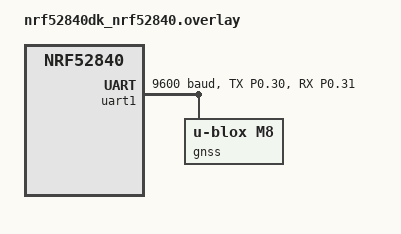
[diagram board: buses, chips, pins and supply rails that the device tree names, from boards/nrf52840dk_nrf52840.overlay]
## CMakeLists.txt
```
# Copyright (c) 2025 Hubble Network, Inc.
# SPDX-License-Identifier: Apache-2.0

cmake_minimum_required(VERSION 3.20.0)
find_package(Zephyr REQUIRED HINTS $ENV{ZEPHYR_BASE})

project(app LANGUAGES C)

target_sources(app PRIVATE src/gnss_manager.c)
target_sources(app PRIVATE src/main.c)
```

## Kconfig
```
# Copyright (c) 2025 Hubble Network, Inc.
# SPDX-License-Identifier: Apache-2.0
#
# This file is the application Kconfig entry point. All application Kconfig
# options can be defined here or included via other application Kconfig files.
# You can browse these options using the west targets menuconfig (terminal) or
# guiconfig (GUI).

menu "Zephyr"
source "Kconfig.zephyr"
endmenu

module = APP
module-str = APP
source "subsys/logging/Kconfig.template.log_config"
```

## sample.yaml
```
# Copyright (c) 2025 Hubble Network, Inc.
# SPDX-License-Identifier: Apache-2.0

sample:
  description: Hubble Network GNSS SAT example
  name: hubble-gnss-sat-network
common:
  build_only: true
  filter: dt_nodelabel_enabled("gnss")
  integration_platforms:
    - nrf52840dk/nrf52840
tests:
  app.gnss.default: {}
  app.gnss.debug:
    extra_overlay_confs:
      - debug.conf
```

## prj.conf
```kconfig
# Copyright (c) 2025 Hubble Network, Inc.
# SPDX-License-Identifier: Apache-2.0

# Hubble Network
CONFIG_HUBBLE_SAT_NETWORK=y

# GNSS
CONFIG_GNSS=y

CONFIG_FPU=y
CONFIG_MAIN_STACK_SIZE=2048
```

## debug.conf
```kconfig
# Copyright (c) 2025 Hubble Network, Inc.
# SPDX-License-Identifier: Apache-2.0
#
# compiler
CONFIG_DEBUG_OPTIMIZATIONS=y

# logging
CONFIG_LOG=y
CONFIG_APP_LOG_LEVEL_DBG=y
```

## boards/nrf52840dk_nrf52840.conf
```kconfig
# Copyright (c) 2025 Hubble Network, Inc.
# SPDX-License-Identifier: Apache-2.0

CONFIG_UART_INTERRUPT_DRIVEN=y
```

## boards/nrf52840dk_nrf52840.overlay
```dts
/*
 * Copyright (c) 2025 Hubble Network, Inc.
 * SPDX-License-Identifier: Apache-2.0
 */

&pinctrl {
    uart1_default_custom: uart1_default_custom {
        group1 {
            psels = <NRF_PSEL(UART_TX, 0, 30)>,
                    <NRF_PSEL(UART_RX, 0, 31)>;
        };
    };

    uart1_sleep_custom: uart1_sleep_custom {
        group1 {
            psels = <NRF_PSEL(UART_TX, 0, 30)>,
                    <NRF_PSEL(UART_RX, 0, 31)>;
            low-power-enable;
        };
    };
};

&uart1 {
    status = "okay";
    current-speed = <9600>;
    pinctrl-0 = <&uart1_default_custom>;
    pinctrl-1 = <&uart1_sleep_custom>;
    pinctrl-names = "default", "sleep";

	gnss: u_blox_m10 {
		status = "okay";
		compatible = "u-blox,m8";
	};
};
```

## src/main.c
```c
/*
 * Copyright (c) 2025 Hubble Network, Inc.
 * SPDX-License-Identifier: Apache-2.0
 */

#include <math.h>

#include <zephyr/kernel.h>
#include <zephyr/logging/log.h>

#include <hubble/sat/ephemeris.h>

#include "gnss_manager.h"

LOG_MODULE_REGISTER(main, CONFIG_APP_LOG_LEVEL);

#define FIX_MARGIN_S        30U
#define TRANSMIT_DURATION_S 20U
#define LOCATION_DELTA      0.01 /* ~1 km */

enum app_state {
	GET_FIX,
	PREDICT_PASS,
	WAIT_FOR_MARGIN,
	PREPARE_TRANSMIT,
	TRANSMIT
};

static enum app_state current_state = GET_FIX;
static struct gnss_fix current_fix;

static const struct orbit_info orbit = {
	.t0 = 1711296587,
	.n0 = 0.00017559780215620866,     /* orbital frequency in orbits/sec */
	.ndot = 3.6984685877857914e-14,
	.raan0 = -2.62346138227064,
	.raandot = 1.992330418167161e-07, /* approximation */
	.aop0 = 3.523598389978097,
	.aopdot = -6.981828658074634e-07, /* approximation */
	.inclination = 97.4608,
	.eccentricity = 0.0010652};

K_SEM_DEFINE(transmit_sem, 0, 1);

static void timer_cb(struct k_timer *timer)
{
	k_sem_give(&transmit_sem);
}

K_TIMER_DEFINE(transmit_timer, timer_cb, NULL);

static uint64_t compute_wait_time(uint64_t next_pass_time)
{
	uint64_t wait_time, current_time;

	current_time = (k_uptime_get() - current_fix.uptime_ms) / 1000 +
		       current_fix.utc;
	wait_time = next_pass_time - current_time;

	if (wait_time < FIX_MARGIN_S) {
		wait_time = 0;
	} else {
		wait_time -= FIX_MARGIN_S;
	}

	return wait_time;
}

int main(void)
{
	int err;
	uint64_t wait_time;
	struct gnss_fix fix;
	struct ground_info ground;
	struct hubble_pass_info next_pass;

	err = gnss_init();
	if (err != 0) {
		LOG_ERR("GNSS initialization failed (err %d)", err);
		return err;
	}

	while (true) {
		switch (current_state) {
		case GET_FIX:
			err = gnss_get_fix(WAIT_FOREVER, &current_fix);
			if (err != 0) {
				LOG_ERR("Failed to get GNSS fix (err %d)", err);
				return err;
			}

			LOG_DBG("GNSS Fix acquired: Lat: %.6f Lon: %.6f, "
				"UTC(s): %llu",
				current_fix.latitude, current_fix.longitude,
				current_fix.utc);

			current_state = PREDICT_PASS;
			break;

		case PREDICT_PASS:
			ground.lat = current_fix.latitude;
			ground.lon = current_fix.longitude;

			err = hubble_next_pass_get(&orbit, current_fix.utc,
						   &ground, &next_pass);
			if (err != 0) {
				LOG_ERR("Failed to get next pass info (err %d)",
					err);
				return err;
			}

			LOG_DBG("Next pass at %llu (lon %.6f, %s)", next_pass.t,
				next_pass.lon,
				next_pass.ascending ? "ascending" : "descending");

			current_state = WAIT_FOR_MARGIN;
			break;

		case WAIT_FOR_MARGIN:
			/* Get current time */
			wait_time = compute_wait_time(next_pass.t);

			if (wait_time != 0) {
				k_timer_start(&transmit_timer,
					      K_SECONDS(wait_time), K_NO_WAIT);
				k_sem_take(&transmit_sem, K_FOREVER);
			}

			current_state = PREPARE_TRANSMIT;
			break;

		case PREPARE_TRANSMIT:
			/* Try to get another fix */
			err = gnss_get_fix(FIX_MARGIN_S, &fix);
			if (err != 0) {
				LOG_WRN("Failed to get GNSS fix before "
					"transmit (err %d)",
					err);

				/* Proceed with last known fix */
				current_state = TRANSMIT;
				break;
			}

			/* Compare if we still in the same location */
			if (fabs(fix.latitude - current_fix.latitude) >
				    LOCATION_DELTA ||
			    fabs(fix.longitude - current_fix.longitude) >
				    LOCATION_DELTA) {
				LOG_INF("Location changed since last fix, "
					"recompute transmit");

				current_fix = fix;
				current_state = PREDICT_PASS;
				break;
			}

			current_state = TRANSMIT;
			break;

		case TRANSMIT:
			LOG_INF("Start transmit to satellite...");
			/* Transmit logic goes here */
			k_sleep(K_SECONDS(TRANSMIT_DURATION_S));
			LOG_INF("Stop transmit to satellite");
			current_state = GET_FIX;
			break;

		default:
			LOG_ERR("Unknown application state!");
			return -1;
		}
	}

	return 0;
}
```

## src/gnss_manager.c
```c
/*
 * Copyright (c) 2025 Hubble Network, Inc.
 * SPDX-License-Identifier: Apache-2.0
 */

#include <zephyr/drivers/gnss.h>
#include <zephyr/sys/timeutil.h>

#include "gnss_manager.h"

#define GNSS_FIX_RATE_MS 30000U
#define GNSS_DEVICE      DEVICE_DT_GET(DT_NODELABEL(gnss))

static struct gnss_fix latest_fix;

K_SEM_DEFINE(fix_sem, 0, 1);
K_SEM_DEFINE(data_sem, 1, 1);

static void gnss_data_cb(const struct device *dev, const struct gnss_data *data)
{
	struct tm utc_time = {0};
	uint64_t utc_s;

	if (data->info.fix_status == GNSS_FIX_STATUS_NO_FIX) {
		return;
	}

	/*
	 * Convert and store the last GPS fix time
	 * GNSS API returns years since 2000
	 */
	utc_time.tm_year = data->utc.century_year + 100;
	utc_time.tm_mon = data->utc.month - 1;
	utc_time.tm_mday = data->utc.month_day;
	utc_time.tm_hour = data->utc.hour;
	utc_time.tm_min = data->utc.minute;
	utc_time.tm_sec = data->utc.millisecond / 1000;
	utc_s = timeutil_timegm(&utc_time);

	k_sem_take(&data_sem, K_FOREVER);
	latest_fix.latitude = data->nav_data.latitude / 1e9;
	latest_fix.longitude = data->nav_data.longitude / 1e9;
	latest_fix.utc = utc_s;
	latest_fix.uptime_ms = k_uptime_get();
	k_sem_give(&data_sem);

	k_sem_give(&fix_sem);
}

GNSS_DATA_CALLBACK_DEFINE(GNSS_DEVICE, gnss_data_cb);

int gnss_init(void)
{
	int err;

	err = gnss_set_fix_rate(GNSS_DEVICE, GNSS_FIX_RATE_MS);
	if (err != 0) {
		return err;
	}

	err = gnss_set_navigation_mode(GNSS_DEVICE,
				       GNSS_NAVIGATION_MODE_BALANCED_DYNAMICS);
	if (err != 0) {
		return err;
	}

	return err;
}

int gnss_get_fix(uint32_t timeout, struct gnss_fix *out)
{
	int err = 0;

	/* Reset the sem to make sure we get the lastest fix */
	k_sem_reset(&fix_sem);
	err = k_sem_take(&fix_sem, (timeout == WAIT_FOREVER)
					   ? K_FOREVER
					   : K_SECONDS(timeout));

	if (err != 0) {
		return err;
	}

	k_sem_take(&data_sem, K_FOREVER);
	memset(out, 0, sizeof(*out));
	memcpy(out, &latest_fix, sizeof(*out));
	k_sem_give(&data_sem);

	return err;
}
```

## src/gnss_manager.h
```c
/*
 * Copyright (c) 2025 Hubble Network, Inc.
 * SPDX-License-Identifier: Apache-2.0
 */

#ifndef GNSS_MANAGER_H
#define GNSS_MANAGER_H

#include <stdint.h>

#define WAIT_FOREVER UINT32_MAX

struct gnss_fix {
	double latitude;
	double longitude;
	uint64_t utc;
	uint64_t uptime_ms;
};

/**
 * Initialize the GNSS module.
 */
int gnss_init(void);

/**
 * Get the latest GNSS fix, waiting up to timeout seconds.
 *
 * @param timeout Maximum time to wait for a fix, in seconds.
 *                Use WAIT_FOREVER to wait indefinitely.
 * @param out Pointer to a struct gnss_fix to be filled with the latest fix data.
 *
 * @return 0 on success, negative error code on failure or timeout.
 */
int gnss_get_fix(uint32_t timeout, struct gnss_fix *out);

#endif /* GNSS_MANAGER_H */
```
